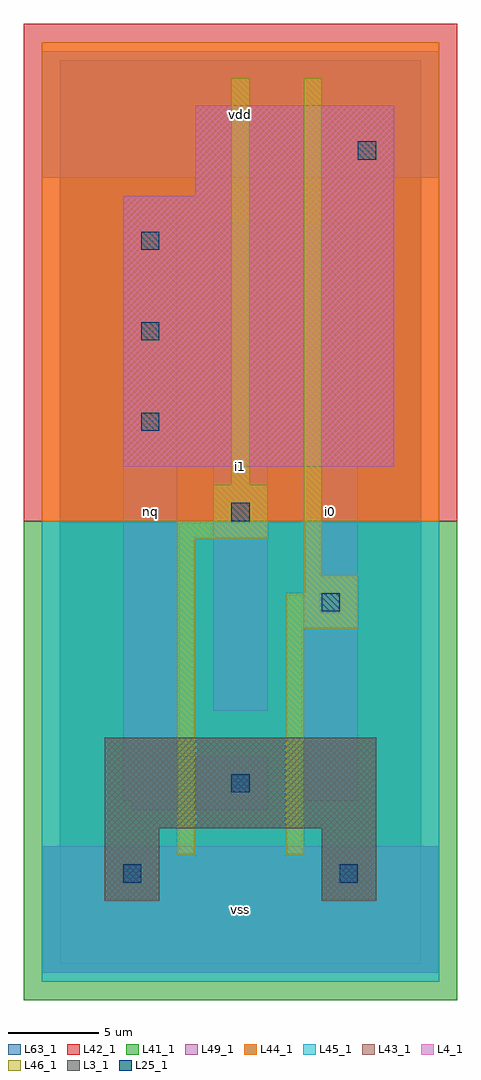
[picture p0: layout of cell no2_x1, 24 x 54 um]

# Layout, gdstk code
import gdstk
lib = gdstk.Library(unit=1e-6, precision=1e-09)
def R(c, l, rs):  # rectangles x0, y0, x1, y1
    for r in rs: c.add(gdstk.rectangle(r[:2], r[2:], *l))
def A(c, l, x, y, w, h, nx, ny, dx, dy):  # array of equal rectangles
    R(c, l, [(x+i*dx, y+j*dy, x+i*dx+w, y+j*dy+h) for i in range(nx) for j in range(ny)])
L3_1 = (3, 1)
L4_1 = (4, 1)
L25_1 = (25, 1)
L41_1 = (41, 1)
L42_1 = (42, 1)
L43_1 = (43, 1)
L44_1 = (44, 1)
L45_1 = (45, 1)
L46_1 = (46, 1)
L49_1 = (49, 1)
L63_1 = (63, 1)

no2_x1 = lib.new_cell('no2_x1')
R(no2_x1, L3_1, [(2.5,3.5,5.5,7.5), (14.5,3.5,17.5,7.5), (2.5,7.5,17.5,12.5)])
R(no2_x1, L4_1, [(3.5,27.5,18.5,42.5), (7.5,42.5,18.5,47.5)])
A(no2_x1, L25_1, 4.5, 29.5, 1, 1, 1, 3, 0, 5)
R(no2_x1, L25_1, [(3.5,4.5,4.5,5.5), (15.5,4.5,16.5,5.5), (9.5,9.5,10.5,10.5), (14.5,19.5,15.5,20.5), (9.5,24.5,10.5,25.5), (16.5,44.5,17.5,45.5)])
R(no2_x1, L41_1, [(-2,-2,22,24.5)])
R(no2_x1, L42_1, [(-2,24.5,22,52)])
R(no2_x1, L43_1, [(2.5,3.5,5.5,7.5), (14.5,3.5,17.5,7.5), (2.5,7.5,17.5,12.5), (3.5,27.5,18.5,42.5), (7.5,42.5,18.5,47.5)])
R(no2_x1, L44_1, [(-1,24.5,21,51)])
R(no2_x1, L45_1, [(-1,-1,21,24.5)])
R(no2_x1, L46_1, [(6.5,6,7.5,23.5), (12.5,6,13.5,18.5), (12.5,18.5,16.5,20.5), (13.5,20.5,16.5,21.5), (13.5,21.5,14.5,49), (6.5,23.5,11.5,24.5), (8.5,24.5,11.5,26.5), (9.5,26.5,10.5,49)])
R(no2_x1, L49_1, [(-1,-0.5,21,6.5), (4,8.5,11.5,9), (3.5,9,11.5,11.5), (13.5,9,16.5,41), (3.5,11.5,6.5,41.5), (8.5,14,11.5,41), (-1,43.5,21,50.5)])
R(no2_x1, L63_1, [(0,0,20,50)])
no2_x1.add(gdstk.Label('nq', (5,25), layer=49, texttype=1))
no2_x1.add(gdstk.Label('nq', (5,25), layer=49, texttype=1))
no2_x1.add(gdstk.Label('vss', (10,3), layer=49, texttype=1))
no2_x1.add(gdstk.Label('vss', (10,3), layer=49, texttype=1))
no2_x1.add(gdstk.Label('i0', (15,25), layer=49, texttype=1))
no2_x1.add(gdstk.Label('i0', (15,25), layer=49, texttype=1))
no2_x1.add(gdstk.Label('i1', (10,27.5), layer=49, texttype=1))
no2_x1.add(gdstk.Label('i1', (10,27.5), layer=49, texttype=1))
no2_x1.add(gdstk.Label('vdd', (10,47), layer=49, texttype=1))
no2_x1.add(gdstk.Label('vdd', (10,47), layer=49, texttype=1))

lib.write_gds('no2_x1.gds')
